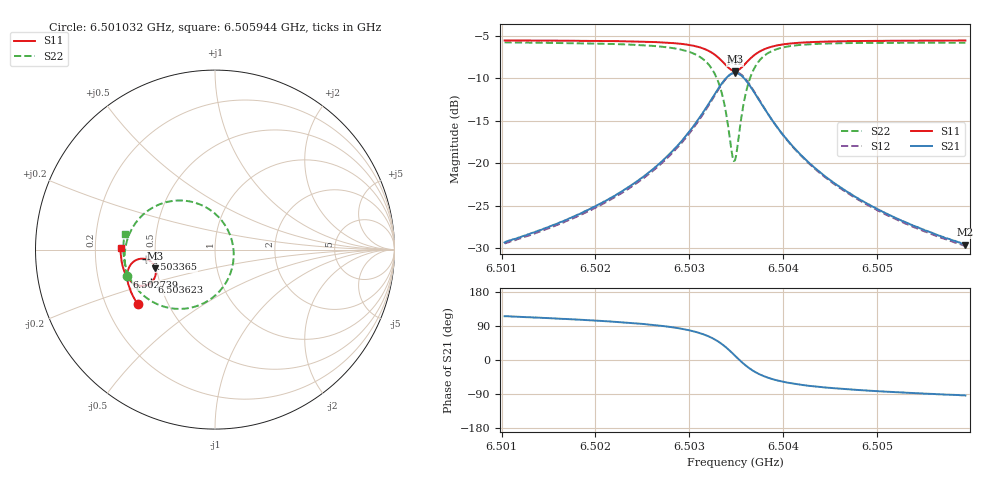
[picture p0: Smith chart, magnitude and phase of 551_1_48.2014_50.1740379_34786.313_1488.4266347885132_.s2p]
#  HZ  S  RI  R  50.00
! Rohde & Schwarz Vector Network Analyzer
! Rohde-Schwarz,ZNB20-2Port,1311601062101988,3.16
! Created: UTC 3/20/2024, 12:00:47 PM
! freq[Hz]  re:S11  im:S11  re:S21  im:S21  re:S12  im:S12  re:S22  im:S22
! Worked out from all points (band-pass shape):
!   401 points, 6.501032 GHz to 6.505944 GHz, reference 50 ohm
!   highest |S21| = -9.39 dB at 6.503488 GHz (marker M1); lowest = -29.6 dB at 6.505944 GHz (marker M2)
!   |S21| within 3 dB of the highest: 6.503242 GHz to 6.503734 GHz (491.8 kHz wide, 0.00756 % of centre)
!   lowest |S11| = -9.2 dB at 6.503488 GHz (marker M3), VSWR 2.07, Z = 24.6 - j5.81 ohm
!   |S11| at or under -10 dB: nowhere
!   |S22| runs from -19.8 to -5.8 dB; largest |S21 - S12| = 0.011
!   S11 on the Smith chart (normalised r, x): 6.501032 GHz: 0.34, -0.29; 6.502739 GHz: 0.33, -0.14; 6.503365 GHz: 0.44, -0.05; 6.503623 GHz: 0.45, -0.19; 6.505944 GHz: 0.31, +0.01
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6.5010319e9  -0.4298 -0.3049  -0.0147 0.0308  -0.0131 0.031  -0.4916 -0.1484
6.5018547e9  -0.4647 -0.2434  -0.014 0.0491  -0.0117 0.0486  -0.5036 -0.0595
6.5022968e9  -0.4801 -0.2038  -0.0111 0.0682  -0.00827 0.0671  -0.5001 0.00407
6.5026775e9  -0.4887 -0.161  -0.00161 0.0989  0.00194 0.0966  -0.4791 0.0818
6.5027389e9  -0.4892 -0.1527  0.00164 0.1062  0.00529 0.1036  -0.4722 0.0979
6.5029599e9  -0.4858 -0.1176  0.0236 0.1415  0.0273 0.1374  -0.4261 0.1687
6.5031196e9  -0.4712 -0.0854  0.0632 0.1778  0.0657 0.1721  -0.3497 0.2324
6.5032669e9  -0.4333 -0.0556  0.1446 0.2065  0.1453 0.2004  -0.2011 0.2737
6.5033652e9  -0.3867 -0.0527  0.2362 0.1901  0.2363 0.1857  -0.0427 0.2312
6.5034511e9  -0.3438 -0.0818  0.3147 0.1156  0.3173 0.1117  0.0827 0.0846
6.5034757e9  -0.3356 -0.0961  0.3282 0.0837  0.3315 0.0792  0.0998 0.0246
6.503488e9  -0.3327 -0.1038  0.3324 0.0667  0.3362 0.0617  0.1037 -0.00692
6.5035125e9  -0.3297 -0.1201  0.3362 0.0323  0.3401 0.0258  0.1015 -0.0703
6.5035494e9  -0.3318 -0.1443  0.3288 -0.0181  0.3325 -0.0267  0.0745 -0.1597
6.5036231e9  -0.3541 -0.1815  0.2821 -0.0947  0.2824 -0.106  -0.0355 -0.2831
6.5037336e9  -0.3998 -0.2017  0.195 -0.1403  0.1901 -0.1501  -0.2119 -0.3301
6.5038932e9  -0.4471 -0.1923  0.111 -0.1366  0.1041 -0.1418  -0.3634 -0.2816
6.5040652e9  -0.4753 -0.1708  0.0654 -0.1157  0.0591 -0.118  -0.4372 -0.2151
6.5043108e9  -0.496 -0.141  0.0347 -0.0904  0.0299 -0.091  -0.4813 -0.1415
6.5046546e9  -0.511 -0.1044  0.0161 -0.0676  0.0128 -0.0673  -0.5033 -0.0701
6.5051336e9  -0.5213 -0.0595  0.0051 -0.0493  0.00304 -0.0487  -0.5105 -0.000248
6.5059441e9  -0.5265 0.00954  -0.00211 -0.0331  -0.00335 -0.0323  -0.5031 0.0869
